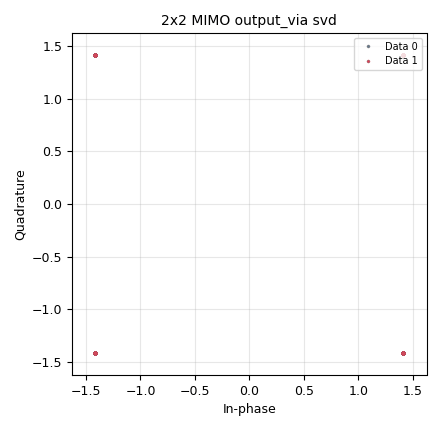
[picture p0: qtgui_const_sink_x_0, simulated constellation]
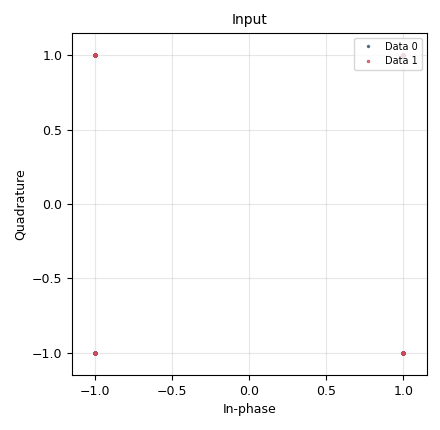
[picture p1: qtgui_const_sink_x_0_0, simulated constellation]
options:
  parameters:
    generate_options: qt_gui
    id: MIMO_svd
    output_language: python
    title: mimo_2x2_svd
  states: {}

blocks:
- name: amp1
  id: variable_qtgui_range
  parameters:
    label: noise amplitude
    orient: Qt.Horizontal
    start: '0'
    step: '1'
    stop: '100'
    value: '0'
  states: {}
- name: amp2
  id: variable_qtgui_range
  parameters:
    orient: Qt.Horizontal
    start: '0'
    step: '1'
    stop: '100'
    value: '0'
  states: {}
- name: samp_rate
  id: variable
  parameters:
    value: '32000'
  states: {}
- name: analog_noise_source_x_0
  id: analog_noise_source_x
  parameters:
    amp: amp1
    noise_type: analog.GR_GAUSSIAN
    seed: '0'
    type: complex
  states: {}
- name: analog_noise_source_x_1
  id: analog_noise_source_x
  parameters:
    amp: amp2
    noise_type: analog.GR_GAUSSIAN
    seed: '0'
    type: complex
  states: {}
- name: analog_random_source_x_0
  id: analog_random_source_x
  parameters:
    max: '4'
    min: '0'
    num_samps: '1000'
    repeat: 'True'
    type: int
  states: {}
- name: blocks_add_xx_0
  id: blocks_add_xx
  parameters:
    type: complex
  states: {}
- name: blocks_add_xx_1
  id: blocks_add_xx
  parameters:
    type: complex
  states: {}
- name: blocks_deinterleave_0
  id: blocks_deinterleave
  parameters:
    type: complex
  states: {}
- name: blocks_interleave_0
  id: blocks_interleave
  parameters:
    type: complex
  states: {state: disabled}
- name: blocks_multiply_const_vxx_0
  id: blocks_multiply_const_vxx
  parameters:
    const: '1'
    type: complex
  states: {state: disabled}
- name: blocks_multiply_matrix_xx_0
  id: blocks_multiply_matrix_xx
  parameters:
    A: ((-1,0),(0,-1))
    tag_propagation_policy: gr.TPP_ALL_TO_ALL
    type: complex
  states: {}
- name: blocks_multiply_matrix_xx_1
  id: blocks_multiply_matrix_xx
  parameters:
    A: ((1, 1), (1, -1))
    tag_propagation_policy: gr.TPP_ALL_TO_ALL
    type: complex
  states: {}
- name: blocks_multiply_matrix_xx_1_0
  id: blocks_multiply_matrix_xx
  parameters:
    A: ((-0.707,-0.707), (-0.707, -0.707))
    tag_propagation_policy: gr.TPP_ALL_TO_ALL
    type: complex
  states: {}
- name: blocks_multiply_matrix_xx_2
  id: blocks_multiply_matrix_xx
  parameters:
    A: ((1/1.41421, 0), (0, 1/1.41421))
    tag_propagation_policy: gr.TPP_ALL_TO_ALL
    type: complex
  states: {state: disabled}
- name: digital_chunks_to_symbols_xx_0
  id: digital_chunks_to_symbols_xx
  parameters:
    dimension: '1'
    in_type: int
    out_type: complex
    symbol_table: (1+1j,-1+1j,-1-1j,1-1j)
  states: {}
- name: import_0
  id: import
  parameters:
    imports: import numpy as np
  states: {}
- name: qtgui_const_sink_x_0
  id: qtgui_const_sink_x
  parameters:
    autoscale: 'True'
    grid: 'True'
    name: '"2x2 MIMO output_via svd"'
    nconnections: '2'
    size: '1024'
    type: complex
    xmax: '40'
    xmin: '-40'
    ymax: '40'
    ymin: '-40'
  states: {}
- name: qtgui_const_sink_x_0_0
  id: qtgui_const_sink_x
  parameters:
    autoscale: 'True'
    grid: 'True'
    name: '"Input "'
    nconnections: '2'
    size: '1024'
    type: complex
    xmax: '40'
    xmin: '-40'
    ymax: '40'
    ymin: '-40'
  states: {}
- name: svd_n
  id: epy_module
  parameters:
    source_code: |
      # this module will be imported in the into your flowgraph
      import numpy as np
      from scipy.linalg import svd
      h = np.zeros((16,16))
      for i in range (0,16):
      	for j in range(0,16):
      		if((i+j)%8 == 2):
      			h[i,j] = 1
      for i in range (0,16):
      	for j in range(0,16):
      		if((i+j)%8 == 1):
      			h[i,j] = 1

      for i in range (8,16):
      	for j in range(8,16):
      		if((i+j)%8 == 1):
      			h[i,j] = -1
      U,s,V = svd(h) 
      UT = np.transpose(U);
      a=UT.tolist();
      b=V.tolist();
  states: {}

connections:
- [analog_noise_source_x_0, '0', blocks_add_xx_0, '0']
- [analog_noise_source_x_1, '0', blocks_add_xx_1, '1']
- [analog_random_source_x_0, '0', digital_chunks_to_symbols_xx_0, '0']
- [blocks_add_xx_0, '0', blocks_multiply_matrix_xx_1_0, '0']
- [blocks_add_xx_1, '0', blocks_multiply_matrix_xx_1_0, '1']
- [blocks_deinterleave_0, '0', blocks_multiply_matrix_xx_0, '0']
- [blocks_deinterleave_0, '0', qtgui_const_sink_x_0_0, '0']
- [blocks_deinterleave_0, '1', blocks_multiply_matrix_xx_0, '1']
- [blocks_deinterleave_0, '1', qtgui_const_sink_x_0_0, '1']
- [blocks_interleave_0, '0', blocks_multiply_const_vxx_0, '0']
- [blocks_multiply_const_vxx_0, '0', qtgui_const_sink_x_0, '0']
- [blocks_multiply_matrix_xx_0, '0', blocks_multiply_matrix_xx_1, '0']
- [blocks_multiply_matrix_xx_0, '1', blocks_multiply_matrix_xx_1, '1']
- [blocks_multiply_matrix_xx_1, '0', blocks_add_xx_0, '1']
- [blocks_multiply_matrix_xx_1, '1', blocks_add_xx_1, '0']
- [blocks_multiply_matrix_xx_1_0, '0', blocks_multiply_matrix_xx_2, '0']
- [blocks_multiply_matrix_xx_1_0, '0', qtgui_const_sink_x_0, '0']
- [blocks_multiply_matrix_xx_1_0, '1', blocks_multiply_matrix_xx_2, '1']
- [blocks_multiply_matrix_xx_1_0, '1', qtgui_const_sink_x_0, '1']
- [blocks_multiply_matrix_xx_2, '0', blocks_interleave_0, '0']
- [blocks_multiply_matrix_xx_2, '0', qtgui_const_sink_x_0, '0']
- [blocks_multiply_matrix_xx_2, '1', blocks_interleave_0, '1']
- [blocks_multiply_matrix_xx_2, '1', qtgui_const_sink_x_0, '1']
- [digital_chunks_to_symbols_xx_0, '0', blocks_deinterleave_0, '0']

metadata:
  file_format: 1
